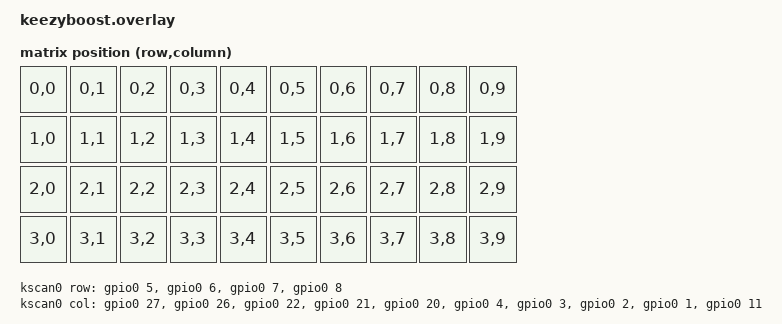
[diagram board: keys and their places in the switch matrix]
#include <dt-bindings/zmk/matrix_transform.h>

/ {
    chosen {
        // zephyr,display = &st7789v;
        // zmk,display-led = &led0;
        zmk,kscan = &kscan0;
        zmk,physical-layout = &physical_layout0;
        zmk,matrix_transform = &default_transform;
    };

    physical_layout0: physical_layout_0 {
        compatible = "zmk,physical-layout";
        display-name = "Default Layout";
        kscan = <&kscan0>;
        transform = <&default_transform>;
    };

    kscan0: kscan_0 {
        compatible = "zmk,kscan-gpio-matrix";
        diode-direction = "col2row";

        col-gpios
            = <&gpio0 27 GPIO_ACTIVE_HIGH>
            , <&gpio0 26 GPIO_ACTIVE_HIGH> 
            , <&gpio0 22 GPIO_ACTIVE_HIGH>
            , <&gpio0 21 GPIO_ACTIVE_HIGH>
            , <&gpio0 20 GPIO_ACTIVE_HIGH>
            , <&gpio0 4 GPIO_ACTIVE_HIGH>
            , <&gpio0 3 GPIO_ACTIVE_HIGH>
            , <&gpio0 2 GPIO_ACTIVE_HIGH>
            , <&gpio0 1 GPIO_ACTIVE_HIGH>
            , <&gpio0 11 GPIO_ACTIVE_HIGH>
            ;

        row-gpios
            = <&gpio0 5 (GPIO_ACTIVE_HIGH | GPIO_PULL_DOWN)>
            , <&gpio0 6 (GPIO_ACTIVE_HIGH | GPIO_PULL_DOWN)>
            , <&gpio0 7 (GPIO_ACTIVE_HIGH | GPIO_PULL_DOWN)>
            , <&gpio0 8 (GPIO_ACTIVE_HIGH | GPIO_PULL_DOWN)>
            ;
    };

    default_transform: matrix_transform {
        compatible = "zmk,matrix-transform";
        columns = <10>;
        rows = <4>;
        map = <
            RC(0,0)  RC(0,1) RC(0,2) RC(0,3) RC(0,4) RC(0,5) RC(0,6) RC(0,7) RC(0,8) RC(0,9)
            RC(1,0)  RC(1,1) RC(1,2) RC(1,3) RC(1,4) RC(1,5) RC(1,6) RC(1,7) RC(1,8) RC(1,9)
            RC(2,0)  RC(2,1) RC(2,2) RC(2,3) RC(2,4) RC(2,5) RC(2,6) RC(2,7) RC(2,8) RC(2,9)
            RC(3,0)  RC(3,1) RC(3,2) RC(3,3) RC(3,4) RC(3,5) RC(3,6) RC(3,7) RC(3,8) RC(3,9)
        >;
    };
};

// &spi0 {
//     compatible = "raspberrypi,pico-spi", "arm,pl022";
// 	status = "okay";
// 	cs-gpios = <&gpio0 17 GPIO_ACTIVE_LOW>;

// 	st7789v: st7789v@0 {
// 		compatible = "sitronix,st7789v";
//         spi-max-frequency = <10000000>;
//         reg = <0>;
// 		cmd-data-gpios = <&gpio0 16 GPIO_ACTIVE_LOW>;
// 		reset-gpios = <&gpio0 14 GPIO_ACTIVE_LOW>;
// 		width = <128>;
// 		height = <160>;
//         x-offset = <0>;
//         y-offset = <0>;
//         vcom = <0x19>;
// 		gctrl = <0x35>;
// 		vrhs = <0x12>;
// 		vdvs = <0x20>;
// 		mdac = <0x00>;
// 		lcm = <0x2c>;
// 		colmod = <0x05>;
// 		gamma = <0x01>;
// 		porch-param = [ 0c 0c 00 33 33  ];
// 		cmd2en-param = [ 5a 69 02 01  ];
// 		pwctrl1-param = [ a4 a1  ];
// 		pvgam-param = [ D0 04 0D 11 13 2B 3F 54 4C 18 0D 0B 1F 23  ];
// 		nvgam-param = [ D0 04 0C 11 13 2C 3F 44 51 2F 1F 1F 20 23  ];
// 		ram-param = [ 00 F0  ];
// 		rgb-param = [ CD 08 14  ];
// 	};
// };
